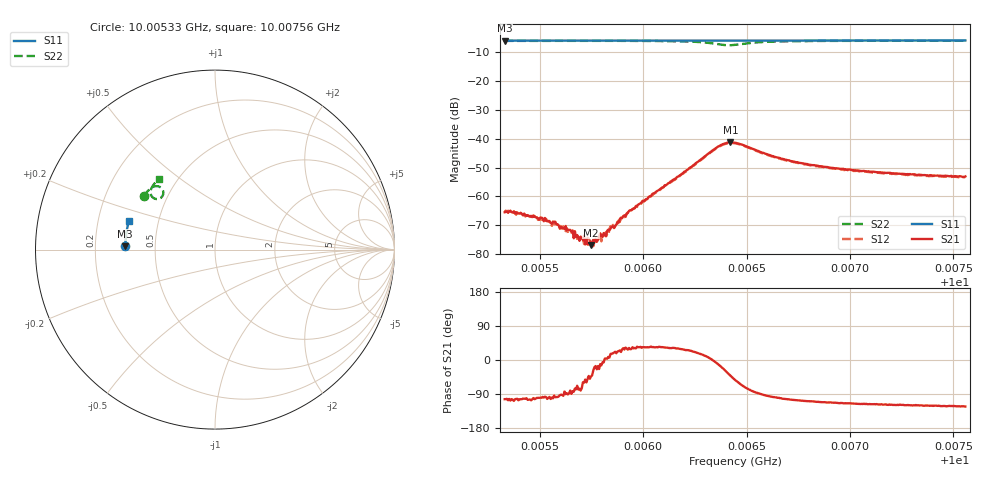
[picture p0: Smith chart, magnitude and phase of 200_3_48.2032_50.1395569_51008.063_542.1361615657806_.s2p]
#  HZ  S  RI  R  50.00
! Rohde & Schwarz Vector Network Analyzer
! Rohde-Schwarz,ZNB20-2Port,1311601062101988,3.16
! Created: UTC 3/20/2024, 11:45:00 AM
! freq[Hz]  re:S11  im:S11  re:S21  im:S21  re:S12  im:S12  re:S22  im:S22
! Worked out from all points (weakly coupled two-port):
!   401 points, 10.00533 GHz to 10.00756 GHz, reference 50 ohm
!   highest |S21| = -41.25 dB at 10.00642 GHz (marker M1); lowest = -76.8 dB at 10.00575 GHz (marker M2)
!   lowest |S11| = -6.0 dB at 10.00533 GHz (marker M3), VSWR 3.00, Z = 16.7 + j0.843 ohm
!   |S11| at or under -10 dB: nowhere
!   |S22| runs from -7.6 to -6.0 dB; largest |S21 - S12| = 0.00053
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1.000533e10  -0.5 0.019  -0.000123 -0.000519  -0.000137 -0.00052  -0.3969 0.2975
1.0005369e10  -0.5 0.0216  -0.000131 -0.000509  -0.000103 -0.000514  -0.3953 0.2998
1.0005575e10  -0.4996 0.0349  -5.33e-05 -0.000361  -2.27e-05 -0.000337  -0.3862 0.3121
1.0005609e10  -0.4995 0.0372  -1.26e-05 -0.000288  3.68e-05 -0.000274  -0.3847 0.3141
1.0005637e10  -0.4994 0.039  -3.98e-06 -0.000266  1.27e-05 -0.000232  -0.3833 0.3159
1.0005665e10  -0.4993 0.0408  1.99e-05 -0.000188  6.48e-05 -0.000218  -0.3818 0.3176
1.0005704e10  -0.4992 0.0434  5.12e-05 -0.000183  6.14e-05 -0.000182  -0.3799 0.3201
1.0005731e10  -0.4991 0.0452  9.44e-05 -0.000113  0.000127 -0.000145  -0.3785 0.3217
1.0005748e10  -0.4991 0.0462  0.000105 -9.95e-05  0.000146 -7.11e-05  -0.3776 0.3228
1.0005765e10  -0.499 0.0471  0.00016 -5.45e-05  0.00015 -6.72e-05  -0.3768 0.3238
1.0005782e10  -0.499 0.0485  0.00017 -4.89e-05  0.000187 -4.21e-05  -0.3758 0.325
1.000582e10  -0.4986 0.0509  0.000204 1.38e-05  0.000241 1.88e-05  -0.3734 0.3275
1.0005848e10  -0.4987 0.0527  0.000283 8.53e-05  0.000263 7.15e-05  -0.3717 0.3292
1.0005932e10  -0.4981 0.0581  0.000477 0.000295  0.000467 0.00028  -0.3663 0.3349
1.0006077e10  -0.4972 0.0675  0.00106 0.000743  0.00102 0.000754  -0.3534 0.3451
1.0006355e10  -0.4944 0.0854  0.00695 -0.000951  0.00685 -0.000593  -0.2896 0.3291
1.0006422e10  -0.4937 0.0892  0.00651 -0.00571  0.00661 -0.00528  -0.302 0.2882
1.0006444e10  -0.4936 0.0903  0.00518 -0.00677  0.00544 -0.00634  -0.3159 0.2822
1.0006634e10  -0.4922 0.1024  -0.000678 -0.00486  -0.000461 -0.0048  -0.3594 0.3226
1.0006818e10  -0.4902 0.1144  -0.00114 -0.0033  -0.001 -0.0033  -0.352 0.3468
1.0007191e10  -0.4849 0.1379  -0.00118 -0.00227  -0.00107 -0.00225  -0.3323 0.3733
1.0007558e10  -0.4786 0.1606  -0.00121 -0.00187  -0.00105 -0.00186  -0.3135 0.3922
